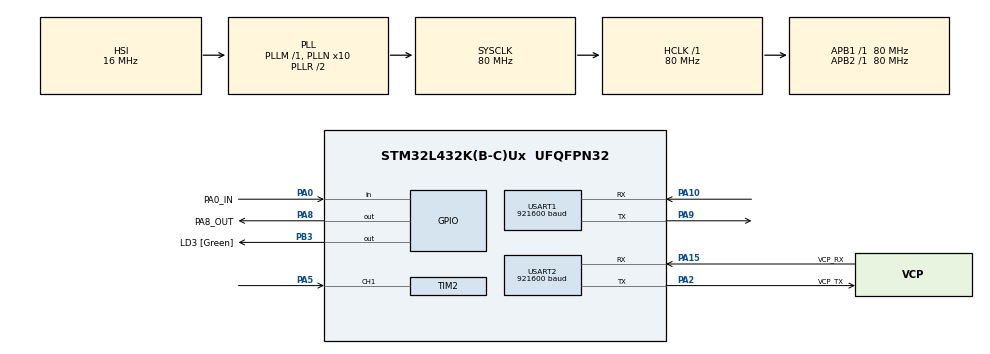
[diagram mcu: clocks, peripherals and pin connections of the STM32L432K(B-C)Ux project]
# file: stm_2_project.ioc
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Mcu.Family=STM32L4
Mcu.Name=STM32L432K(B-C)Ux
Mcu.Package=UFQFPN32
NVIC.PriorityGroup=NVIC_PRIORITYGROUP_4
PA0.GPIO_Label=PA0_IN
PA0.Signal=GPIO_Input
PA10.Mode=Asynchronous
PA10.Signal=USART1_RX
PA13\ (JTMS-SWDIO).GPIO_Label=SWDIO
PA13\ (JTMS-SWDIO).Mode=Serial_Wire
PA13\ (JTMS-SWDIO).Signal=SYS_JTMS-SWDIO
PA14\ (JTCK-SWCLK).GPIO_Label=SWCLK
PA14\ (JTCK-SWCLK).Mode=Serial_Wire
PA14\ (JTCK-SWCLK).Signal=SYS_JTCK-SWCLK
PA15\ (JTDI).GPIO_Label=VCP_RX
PA15\ (JTDI).Mode=Asynchronous
PA15\ (JTDI).Signal=USART2_RX
PA2.GPIO_Label=VCP_TX
PA2.Mode=Asynchronous
PA2.Signal=USART2_TX
PA5.Signal=S_TIM2_CH1
PA8.GPIO_Label=PA8_OUT
PA8.Signal=GPIO_Output
PA9.Mode=Asynchronous
PA9.Signal=USART1_TX
PB3\ (JTDO-TRACESWO).GPIO_Label=LD3 [Green]
PB3\ (JTDO-TRACESWO).Signal=GPIO_Output
PC14-OSC32_IN\ (PC14).Mode=LSE-External-Oscillator
PC14-OSC32_IN\ (PC14).Signal=RCC_OSC32_IN
PC15-OSC32_OUT\ (PC15).Mode=LSE-External-Oscillator
PC15-OSC32_OUT\ (PC15).Signal=RCC_OSC32_OUT
ProjectManager.HeapSize=0x200
ProjectManager.StackSize=0x400
ProjectManager.TargetToolchain=STM32CubeIDE
RCC.ADCFreq_Value=64000000
RCC.AHBFreq_Value=80000000
RCC.APB1Freq_Value=80000000
RCC.APB1TimFreq_Value=80000000
RCC.APB2Freq_Value=80000000
RCC.APB2TimFreq_Value=80000000
RCC.CortexFreq_Value=80000000
RCC.HCLKFreq_Value=80000000
RCC.HSE_VALUE=8000000
RCC.HSI16_VALUE=16000000
RCC.HSI48_VALUE=48000000
RCC.HSI_VALUE=16000000
RCC.MSI_VALUE=4000000
RCC.PLLMUL=RCC_PLLMUL_4
RCC.PLLN=10
RCC.PLLSourceVirtual=RCC_PLLSOURCE_HSI
RCC.SYSCLKFreq_VALUE=80000000
RCC.SYSCLKSource=RCC_SYSCLKSOURCE_PLLCLK
RCC.USBFreq_Value=64000000
RCC.VCOOutputFreq_Value=160000000
SH.S_TIM2_CH1.0=TIM2_CH1,Input_Capture1_from_TI1
TIM2.Channel-Input_Capture1_from_TI1=TIM_CHANNEL_1
TIM2.Prescaler=79
USART1.BaudRate=921600
USART1.VirtualMode-Asynchronous=VM_ASYNC
USART2.BaudRate=921600
USART2.VirtualMode-Asynchronous=VM_ASYNC
board=NUCLEO-L432KC

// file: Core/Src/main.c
/* USER CODE BEGIN Header */
/**
  ******************************************************************************
  * @file           : main.c
  * @brief          : Main program body
  ******************************************************************************
  * @attention
  *
  * Copyright (c) 2026 STMicroelectronics.
  * All rights reserved.
  *
  * This software is licensed under terms that can be found in the LICENSE file
  * in the root directory of this software component.
  * If no LICENSE file comes with this software, it is provided AS-IS.
  *
  ******************************************************************************
  */
/* USER CODE END Header */
#include "main.h"

/* USER CODE BEGIN PD */
#define a 3
/* USER CODE END PD */

TIM_HandleTypeDef htim2;

UART_HandleTypeDef huart1;
UART_HandleTypeDef huart2;

/* USER CODE BEGIN PV */
char mode = 'o'; // o for OFF
volatile int ultraRecording = 0; // 1 = on
volatile int ultraLowsInRow = 0; // volatile helps with rapid changing??
uint8_t lengthManual;
int samplesManualOUT;
uint8_t in1 = 0;
uint8_t in2 = 0;
uint8_t out1 = 0;
int modeDelay = 1;
int sampleRateIN = 44100; //
int sampleRateOUT = 22050;
uint8_t end[] = {0xEE, 0xAF, 0xDD, 0xEE};
float TRIGGERDISTANCE = 10;

/* USER CODE END PV */

void SystemClock_Config(void);
static void MX_GPIO_Init(void);
static void MX_USART2_UART_Init(void);
static void MX_USART1_UART_Init(void);
static void MX_TIM2_Init(void);
/* USER CODE BEGIN PFP */
char checkMode();
void checkUltra(volatile int *state, volatile int *lows); // ++ lows in row if low dectected (if is currently HIGH)
void sendUltraEnd();
/* USER CODE END PFP */

int main(void)
{

  /* MCU Configuration--------------------------------------------------------*/

  /* Reset of all peripherals, Initializes the Flash interface and the Systick. */
  HAL_Init();

  /* Configure the system clock */
  SystemClock_Config();

  /* Initialize all configured peripherals */
  MX_GPIO_Init();
  MX_USART2_UART_Init();
  MX_USART1_UART_Init();
  MX_TIM2_Init();
  /* USER CODE BEGIN 2 */
  HAL_TIM_Base_Start(&htim2); // start the timer for the ultrasonic sensor
  /* USER CODE END 2 */

  /* Infinite loop */
  while (1)
  {

    /* USER CODE BEGIN 3 */
	  // THIS IS PROCESSOR

	  if (mode == 'd') {
		  if (checkMode() == 's') {
			  mode = 'o';
		  }
		  else mode = 'd'; // if its in d it should loop and stay d unless s is sent ie stop d
	  }
	  else mode = checkMode(); // should stm wait here to let python catchup?

	  if (mode == 'm') {
		  HAL_GPIO_WritePin(LD3_GPIO_Port, LD3_Pin, GPIO_PIN_SET);
		  HAL_UART_Receive(&huart2, &in2, 1, HAL_MAX_DELAY);
		  lengthManual = (int)in2; // receive length in seconds as uint8
		  samplesManualOUT = lengthManual * sampleRateOUT; // calc how many samples to send

		  __HAL_UART_CLEAR_FLAG(&huart1, UART_CLEAR_OREF | UART_CLEAR_FEF | UART_CLEAR_NEF); // get rid of any errors stopping uart
		  __HAL_UART_SEND_REQ(&huart1, UART_RXDATA_FLUSH_REQUEST); // clear the buffer

		  uint8_t s0=0, s1=0, s2=0, s3=0;

		  uint8_t runningMean = 0;

		  for (int i = 0; i < samplesManualOUT; i++) {
			  s0 = s2; // slide window of the 4
			  s1 = s3;
			  HAL_UART_Receive(&huart1, &s2, 1, HAL_MAX_DELAY);
		      HAL_UART_Receive(&huart1, &s3, 1, HAL_MAX_DELAY);

		      out1 = (uint8_t)(((uint16_t)s0 + s1 + s2 + s3) / 4); // moving average window of 4, use uint16 cast to avoid overflow during sum

//		      runningMean = out1;
////		      runningMean += (out1-runningMean)/(i+1);// outlier detection thing, CHECK IF SLOWS DOWN PROCESSOR
//		      if (s2>a*runningMean) {
//		    	  s2 = a*runningMean;
//		      }
//		      if (s3>a*runningMean) {
//		    	  s3 = a*runningMean;
//		      }

		      HAL_UART_Transmit(&huart2, &out1, 1, HAL_MAX_DELAY);
		  }

		  lengthManual = 0; // recording done
		  mode = 'o';
		  HAL_GPIO_WritePin(LD3_GPIO_Port, LD3_Pin, GPIO_PIN_RESET);
	  }
	  else if (mode == 'd') {
		  checkUltra(&ultraRecording, &ultraLowsInRow);
		  if (ultraRecording) {
			  HAL_GPIO_WritePin(LD3_GPIO_Port, LD3_Pin, GPIO_PIN_SET);

			  uint8_t s0=0, s1=0, s2=0, s3=0;
			  uint32_t count = 0;

			  uint8_t runningMean = 0;

			  while (ultraRecording) {

				  s0 = s2; // slide window
				  s1 = s3;

				  // same as before but clearing more often bc seemed to help
				  __HAL_UART_CLEAR_FLAG(&huart1, UART_CLEAR_OREF | UART_CLEAR_FEF | UART_CLEAR_NEF);
				  __HAL_UART_SEND_REQ(&huart1, UART_RXDATA_FLUSH_REQUEST);
				  HAL_UART_Receive(&huart1, &s2, 1, 5);
			      HAL_UART_Receive(&huart1, &s3, 1, 5); // not using max delay bc helped as well

			      // Average (use uint16 to avoid overflow during sum)
			      out1 = (uint8_t)(((uint16_t)s0 + s1 + s2 + s3) / 4);

//			      runningMean = out1;
//	//		      runningMean += (out1-runningMean)/(i+1);// outlier detection thing, CHECK IF SLOWS DOWN PROCESSOR
//			      if (s2 > a*runningMean) {
//			    	  s2 = a*runningMean;
//			      }
//			      if (s3>a*runningMean) {
//			    	  s3 = a*runningMean;
//			      }

			      HAL_UART_Transmit(&huart2, &out1, 1, HAL_MAX_DELAY);

			      if (++count >= 3000) { // ONLY checkUltra EVERY 3000 samples to save cpu space
			          count = 0; // reset the count
			          checkUltra(&ultraRecording, &ultraLowsInRow);
			      }
			  }

			  sendUltraEnd(); // send 4 byte msg to python to tell it to stop recording
			  HAL_GPIO_WritePin(LD3_GPIO_Port, LD3_Pin, GPIO_PIN_RESET);
		  }
	  }
	  else if (mode == 'o') {
		  // just loop do nothing o = OFF
	  }
  }
  /* USER CODE END 3 */
}

void SystemClock_Config(void)
{
  RCC_OscInitTypeDef RCC_OscInitStruct = {0};
  RCC_ClkInitTypeDef RCC_ClkInitStruct = {0};

  /** Configure the main internal regulator output voltage
  */
  if (HAL_PWREx_ControlVoltageScaling(PWR_REGULATOR_VOLTAGE_SCALE1) != HAL_OK)
  {
    Error_Handler();
  }

  /** Initializes the RCC Oscillators according to the specified parameters
  * in the RCC_OscInitTypeDef structure.
  */
  RCC_OscInitStruct.OscillatorType = RCC_OSCILLATORTYPE_HSI;
  RCC_OscInitStruct.HSIState = RCC_HSI_ON;
  RCC_OscInitStruct.HSICalibrationValue = RCC_HSICALIBRATION_DEFAULT;
  RCC_OscInitStruct.PLL.PLLState = RCC_PLL_ON;
  RCC_OscInitStruct.PLL.PLLSource = RCC_PLLSOURCE_HSI;
  RCC_OscInitStruct.PLL.PLLM = 1;
  RCC_OscInitStruct.PLL.PLLN = 10;
  RCC_OscInitStruct.PLL.PLLP = RCC_PLLP_DIV7;
  RCC_OscInitStruct.PLL.PLLQ = RCC_PLLQ_DIV2;
  RCC_OscInitStruct.PLL.PLLR = RCC_PLLR_DIV2;
  if (HAL_RCC_OscConfig(&RCC_OscInitStruct) != HAL_OK)
  {
    Error_Handler();
  }

  /** Initializes the CPU, AHB and APB buses clocks
  */
  RCC_ClkInitStruct.ClockType = RCC_CLOCKTYPE_HCLK|RCC_CLOCKTYPE_SYSCLK
                              |RCC_CLOCKTYPE_PCLK1|RCC_CLOCKTYPE_PCLK2;
  RCC_ClkInitStruct.SYSCLKSource = RCC_SYSCLKSOURCE_PLLCLK;
  RCC_ClkInitStruct.AHBCLKDivider = RCC_SYSCLK_DIV1;
  RCC_ClkInitStruct.APB1CLKDivider = RCC_HCLK_DIV1;
  RCC_ClkInitStruct.APB2CLKDivider = RCC_HCLK_DIV1;

  if (HAL_RCC_ClockConfig(&RCC_ClkInitStruct, FLASH_LATENCY_4) != HAL_OK)
  {
    Error_Handler();
  }
}

static void MX_TIM2_Init(void)
{

  TIM_MasterConfigTypeDef sMasterConfig = {0};
  TIM_IC_InitTypeDef sConfigIC = {0};

  htim2.Instance = TIM2;
  htim2.Init.Prescaler = 79;
  htim2.Init.CounterMode = TIM_COUNTERMODE_UP;
  htim2.Init.Period = 4294967295;
  htim2.Init.ClockDivision = TIM_CLOCKDIVISION_DIV1;
  htim2.Init.AutoReloadPreload = TIM_AUTORELOAD_PRELOAD_DISABLE;
  if (HAL_TIM_IC_Init(&htim2) != HAL_OK)
  {
    Error_Handler();
  }
  sMasterConfig.MasterOutputTrigger = TIM_TRGO_RESET;
  sMasterConfig.MasterSlaveMode = TIM_MASTERSLAVEMODE_DISABLE;
  if (HAL_TIMEx_MasterConfigSynchronization(&htim2, &sMasterConfig) != HAL_OK)
  {
    Error_Handler();
  }
  sConfigIC.ICPolarity = TIM_INPUTCHANNELPOLARITY_RISING;
  sConfigIC.ICSelection = TIM_ICSELECTION_DIRECTTI;
  sConfigIC.ICPrescaler = TIM_ICPSC_DIV1;
  sConfigIC.ICFilter = 0;
  if (HAL_TIM_IC_ConfigChannel(&htim2, &sConfigIC, TIM_CHANNEL_1) != HAL_OK)
  {
    Error_Handler();
  }

}

static void MX_USART1_UART_Init(void)
{

  huart1.Instance = USART1;
  huart1.Init.BaudRate = 921600;
  huart1.Init.WordLength = UART_WORDLENGTH_8B;
  huart1.Init.StopBits = UART_STOPBITS_1;
  huart1.Init.Parity = UART_PARITY_NONE;
  huart1.Init.Mode = UART_MODE_TX_RX;
  huart1.Init.HwFlowCtl = UART_HWCONTROL_NONE;
  huart1.Init.OverSampling = UART_OVERSAMPLING_16;
  huart1.Init.OneBitSampling = UART_ONE_BIT_SAMPLE_DISABLE;
  huart1.AdvancedInit.AdvFeatureInit = UART_ADVFEATURE_NO_INIT;
  if (HAL_UART_Init(&huart1) != HAL_OK)
  {
    Error_Handler();
  }

}

static void MX_USART2_UART_Init(void)
{

  huart2.Instance = USART2;
  huart2.Init.BaudRate = 921600;
  huart2.Init.WordLength = UART_WORDLENGTH_8B;
  huart2.Init.StopBits = UART_STOPBITS_1;
  huart2.Init.Parity = UART_PARITY_NONE;
  huart2.Init.Mode = UART_MODE_TX_RX;
  huart2.Init.HwFlowCtl = UART_HWCONTROL_NONE;
  huart2.Init.OverSampling = UART_OVERSAMPLING_16;
  huart2.Init.OneBitSampling = UART_ONE_BIT_SAMPLE_DISABLE;
  huart2.AdvancedInit.AdvFeatureInit = UART_ADVFEATURE_NO_INIT;
  if (HAL_UART_Init(&huart2) != HAL_OK)
  {
    Error_Handler();
  }

}

static void MX_GPIO_Init(void)
{
  GPIO_InitTypeDef GPIO_InitStruct = {0};

  /* GPIO Ports Clock Enable */
  __HAL_RCC_GPIOC_CLK_ENABLE();
  __HAL_RCC_GPIOA_CLK_ENABLE();
  __HAL_RCC_GPIOB_CLK_ENABLE();

  /*Configure GPIO pin Output Level */
  HAL_GPIO_WritePin(PA8_OUT_GPIO_Port, PA8_OUT_Pin, GPIO_PIN_RESET);

  /*Configure GPIO pin Output Level */
  HAL_GPIO_WritePin(LD3_GPIO_Port, LD3_Pin, GPIO_PIN_RESET);

  /*Configure GPIO pin : PA0_IN_Pin */
  GPIO_InitStruct.Pin = PA0_IN_Pin;
  GPIO_InitStruct.Mode = GPIO_MODE_INPUT;
  GPIO_InitStruct.Pull = GPIO_NOPULL;
  HAL_GPIO_Init(PA0_IN_GPIO_Port, &GPIO_InitStruct);

  /*Configure GPIO pin : PA8_OUT_Pin */
  GPIO_InitStruct.Pin = PA8_OUT_Pin;
  GPIO_InitStruct.Mode = GPIO_MODE_OUTPUT_PP;
  GPIO_InitStruct.Pull = GPIO_NOPULL;
  GPIO_InitStruct.Speed = GPIO_SPEED_FREQ_LOW;
  HAL_GPIO_Init(PA8_OUT_GPIO_Port, &GPIO_InitStruct);

  /*Configure GPIO pin : LD3_Pin */
  GPIO_InitStruct.Pin = LD3_Pin;
  GPIO_InitStruct.Mode = GPIO_MODE_OUTPUT_PP;
  GPIO_InitStruct.Pull = GPIO_NOPULL;
  GPIO_InitStruct.Speed = GPIO_SPEED_FREQ_LOW;
  HAL_GPIO_Init(LD3_GPIO_Port, &GPIO_InitStruct);

}

/* USER CODE BEGIN 4 */
char checkMode() {
	uint8_t tmp = 0;
	if (HAL_UART_Receive(&huart2, &tmp, 1, modeDelay) == HAL_OK) { // check for mode input ELSE its just o = OFF
		return (char)tmp;
	}
	return 'o';
}

void checkUltra(volatile int *state, volatile int *lows) {
	// ++ lows in row if low dectected (if is currently HIGH)
	int readingfail = 0;

    __HAL_TIM_SET_COUNTER(&htim2, 0);
    HAL_GPIO_WritePin(PA8_OUT_GPIO_Port, PA8_OUT_Pin, GPIO_PIN_SET); //sending the trigger pulse
    while (__HAL_TIM_GET_COUNTER(&htim2) < 10) {} // wait for 10us
    HAL_GPIO_WritePin(PA8_OUT_GPIO_Port, PA8_OUT_Pin, GPIO_PIN_RESET);

    __HAL_TIM_SET_COUNTER(&htim2, 0);
    while (HAL_GPIO_ReadPin(PA0_IN_GPIO_Port, PA0_IN_Pin) == GPIO_PIN_RESET) {
    	if (__HAL_TIM_GET_COUNTER(&htim2) > 50000) { // need a timout thing here bc if no return signal
    		readingfail =1;
    		break;
    	}
    }
    __HAL_TIM_SET_COUNTER(&htim2, 0);
    while (HAL_GPIO_ReadPin(PA0_IN_GPIO_Port, PA0_IN_Pin) == GPIO_PIN_SET) {
    	if (__HAL_TIM_GET_COUNTER(&htim2) > 50000) { // need a timout thing here bc if no return signal
    			readingfail =1;
    			break;
    		}
    }
    uint32_t timeEchoHighus = __HAL_TIM_GET_COUNTER(&htim2);

    float distancecm = timeEchoHighus/58.3f; // formulas from lab class
    if (readingfail) distancecm = 99; // if reading fails then just set large ie as a low

    if (distancecm<TRIGGERDISTANCE) { // 10 CM IS THE CHOSEN DISTANCES ATM
    	*state = 1;
    	*lows = 0;
    }
    else if (*state == 1) {
    	(*lows)++;
    }

	if (*lows > 6) { // STABILISES THE READING AND REQUIRES 7 LOWS IN A ROW TO DEACTIVATE
		*state = 0;
	}
}

void sendUltraEnd() {
	HAL_UART_Transmit(&huart2, end, 4, HAL_MAX_DELAY);
}
/* USER CODE END 4 */

void Error_Handler(void)
{
  __disable_irq();
  while (1)
  {
  }
}
